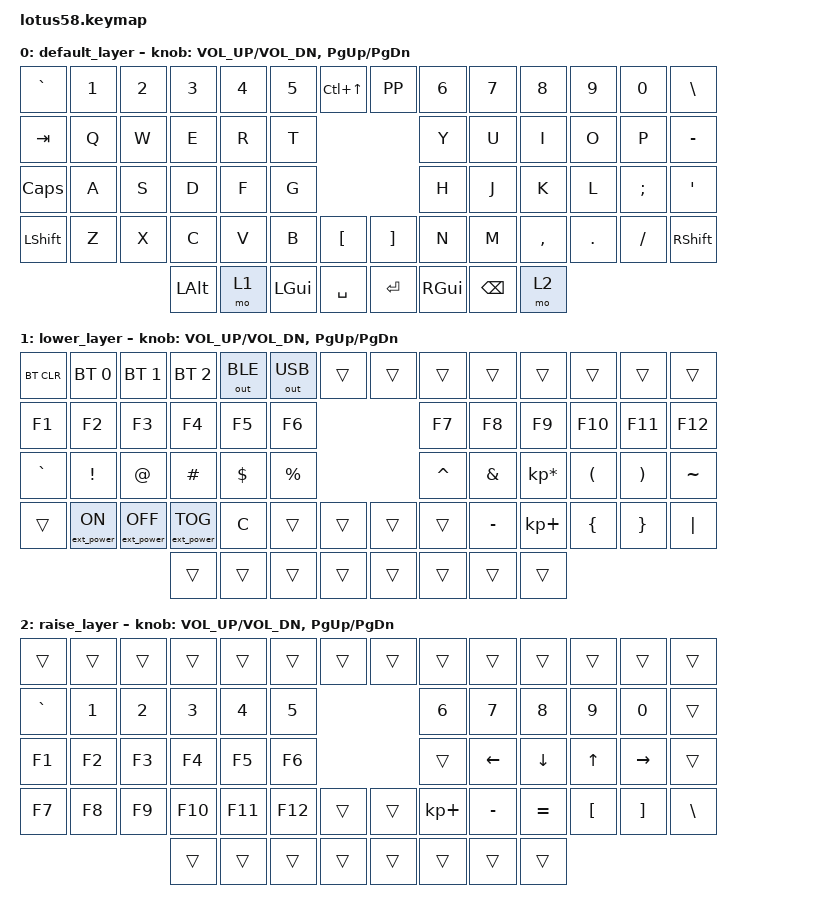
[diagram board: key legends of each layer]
/*
 * Copyright (c) 2020 The ZMK Contributors
 *
 * SPDX-License-Identifier: MIT
 */

#include <behaviors.dtsi>
#include <dt-bindings/zmk/keys.h>
#include <dt-bindings/zmk/bt.h>
#include <dt-bindings/zmk/ext_power.h>
#include <dt-bindings/zmk/outputs.h>

/ {
	keymap {
		compatible = "zmk,keymap";

		default_layer {
// -----------------------------------------------------------------------------------------------------------
// |   `   |  1  |  2  |  3   |  4   |  5  |                   |  6   |  7    |  8    |  9   |   0   |   \   |
// |  TAB  |  Q  |  W  |  E   |  R   |  T  |                   |  Y   |  U    |  I    |  O   |   P   |   -   |
// |  CAPS |  A  |  S  |  D   |  F   |  G  |                   |  H   |  J    |  K    |  L   |   ;   |   '   |
// | SHIFT |  Z  |  X  |  C   |  V   |  B  |   "["  |  |  "]"  |  N   |  M    |  ,    |  .   |   /   | SHIFT |
//                     | ALT  |LOWER | GUI |  SPACE |  | ENTER | RGUI | BSPC  | RAISE |
			bindings = <
&kp GRAVE &kp N1 &kp N2 &kp N3   &kp N4   &kp N5 &kp LC(UP) &kp K_PP &kp N6 &kp N7   &kp N8    &kp N9  &kp N0   &kp BSLH
&kp TAB   &kp Q  &kp W  &kp E    &kp R    &kp T                      &kp Y  &kp U    &kp I     &kp O   &kp P    &kp MINUS
&kp CAPS  &kp A  &kp S  &kp D    &kp F    &kp G                      &kp H  &kp J    &kp K     &kp L   &kp SEMI &kp SQT
&kp LSHFT &kp Z  &kp X  &kp C    &kp V    &kp B  &kp LBKT   &kp RBKT &kp N  &kp M    &kp COMMA &kp DOT &kp FSLH &kp RSHFT
                        &kp LALT &mo 1 &kp LGUI  &kp SPACE  &kp RET  &kp RGUI &kp BSPC &mo 2
			>;

			sensor-bindings = <&inc_dec_kp C_VOL_UP C_VOL_DN &inc_dec_kp PG_UP PG_DN>;
		};

		lower_layer {
// ------------------------------------------------------------------------------------------------------------------------
// | BTCLR | BT1  |  BT2  |  BT3  |  OUT_BLE |  OUT_USB | &trans     &trans |      |       |       |      |       |       |
// |  F1   |  F2  |   F3  |  F4   |  F5      |  F6      |                   |  F7  |  F8   |  F9   |  F10 |  F11  |  F12  |
// |   `   |  !   |   @   |  #    |  $       |  %       |                   |  ^   |  &    |  *    |  (   |   )   |   ~   |
// |       |POW_ON|POW_OFF|POW_TGL|  C       |          |        |  |       |      |  _    |  +    |  {   |   }   |  "|"  |
//                         |      |          |          |        |  |       |      |       |       |
			bindings = <
&bt BT_CLR &bt BT_SEL 0     &bt BT_SEL 1      &bt BT_SEL 2      &out OUT_BLE &out OUT_USB &trans &trans   &trans    &trans    &trans          &trans    &trans    &trans
// &bt BT_CLR &bt BT_SEL 0     &bt BT_SEL 1      &bt BT_SEL 2      &bt BT_SEL 3 &bt BT_SEL 4 &trans &trans   &trans    &trans    &trans          &trans    &trans    &trans
&kp F1     &kp F2           &kp F3            &kp F4            &kp F5       &kp F6                       &kp F7    &kp F8    &kp F9          &kp F10   &kp F11   &kp F12
&kp GRAVE  &kp EXCL         &kp AT            &kp HASH          &kp DOLLAR   &kp PRCNT                    &kp CARET &kp AMPS  &kp KP_MULTIPLY &kp LPAR  &kp RPAR  &kp TILDE
&trans     &ext_power EP_ON &ext_power EP_OFF &ext_power EP_TOG &kp C        &trans       &trans &trans   &trans    &kp MINUS &kp KP_PLUS     &kp LBRC  &kp RBRC  &kp PIPE
                                              &trans            &trans       &trans       &trans &trans   &trans    &trans    &trans
			>;

      sensor-bindings = <&inc_dec_kp C_VOL_UP C_VOL_DN &inc_dec_kp PG_UP PG_DN>;
		};

		raise_layer {
// ------------------------------------------------------------------------------------------------------------
// |       |     |     |      |      |      |                   |      |       |       |      |       |       |
// |   `   |  1  |  2  |  3   |  4   |  5   |                   |  6   |   7   |   8   |  9   |   0   |       |
// |   F1  |  F2 |  F3 |  F4  |  F5  |  F6  |                   |      |   <-  |   ^   |  v   |  ->   |       |
// |   F7  |  F8 |  F9 |  F10 |  F11 |  F12 |        |  |       |  +   |   -   |   =   |  [   |   ]   |   \   |
//                     |      |      |      |        |  |       |      |       |       |
			bindings = <
&trans    &trans &trans &trans  &trans  &trans    &trans   &trans    &trans      &trans    &trans    &trans   &trans    &trans
&kp GRAVE &kp N1 &kp N2 &kp N3  &kp N4  &kp N5                       &kp N6      &kp N7    &kp N8    &kp N9   &kp N0    &trans
&kp F1    &kp F2 &kp F3 &kp F4  &kp F5  &kp F6                       &trans      &kp LEFT  &kp DOWN  &kp UP   &kp RIGHT &trans
&kp F7    &kp F8 &kp F9 &kp F10 &kp F11 &kp F12   &trans   &trans    &kp KP_PLUS &kp MINUS &kp EQUAL &kp LBKT &kp RBKT  &kp BSLH
                        &trans  &trans  &trans    &trans   &trans    &trans      &trans    &trans
			>;

			sensor-bindings = <&inc_dec_kp C_VOL_UP C_VOL_DN &inc_dec_kp PG_UP PG_DN>;
		};
	};
};
